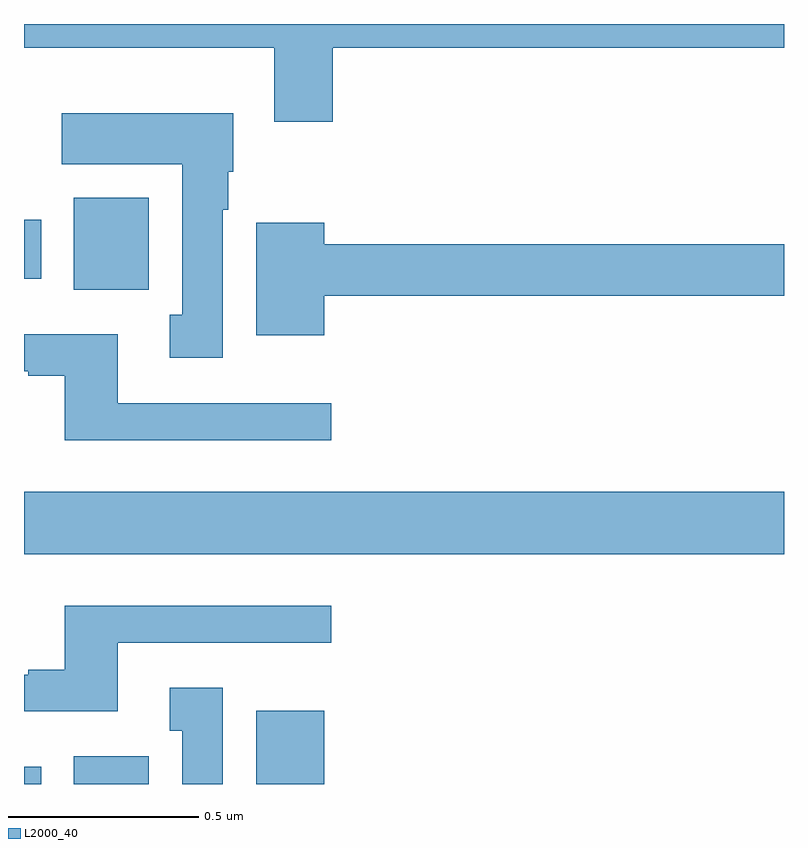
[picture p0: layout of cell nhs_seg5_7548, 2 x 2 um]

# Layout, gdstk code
import gdstk
lib = gdstk.Library(unit=1e-6, precision=1e-09)
def R(c, l, rs):  # rectangles x0, y0, x1, y1
    for r in rs: c.add(gdstk.rectangle(r[:2], r[2:], *l))
def P(c, l, *ps):  # polygons
    for p in ps: c.add(gdstk.Polygon(p, *l))
L2000_40 = (2000, 40)

nhs_seg5_7548 = lib.new_cell('nhs_seg5_7548')
R(nhs_seg5_7548, L2000_40, [(210,878.799,210.046,878.845), (210.131,878.799,210.328,878.872), (210.611,878.799,210.79,878.992), (210,879.404,212,879.568), (210.131,880.1,210.328,880.342), (210,880.128,210.046,880.284)])
P(nhs_seg5_7548, L2000_40, [(210.812,880.736),(212,880.736),(212,880.799),(210,880.799),(210,880.736),(210.659,880.736),(210.659,880.542),(210.812,880.542)],
  [(210.523,880.31),(210.538,880.31),(210.538,880.41),(210.55,880.41),(210.55,880.564),(210.099,880.564),(210.099,880.43),(210.416,880.43),(210.416,880.034),(210.383,880.034),(210.383,879.921),(210.523,879.921)],
  [(210.79,880.084),(212,880.084),(212,880.22),(210.79,880.22),(210.79,880.276),(210.611,880.276),(210.611,879.98),(210.79,879.98)],
  [(210.808,879.801),(210.247,879.801),(210.247,879.982),(210,879.982),(210,879.885),(210.011,879.885),(210.011,879.873),(210.107,879.873),(210.107,879.704),(210.808,879.704)],
  [(210.247,879.171),(210.808,879.171),(210.808,879.268),(210.107,879.268),(210.107,879.1),(210.011,879.1),(210.011,879.087),(210,879.087),(210,878.99),(210.247,878.99)],
  [(210.523,879.052),(210.383,879.052),(210.383,878.939),(210.416,878.939),(210.416,878.799),(210.523,878.799)])

lib.write_gds('nhs_seg5_7548.gds')
